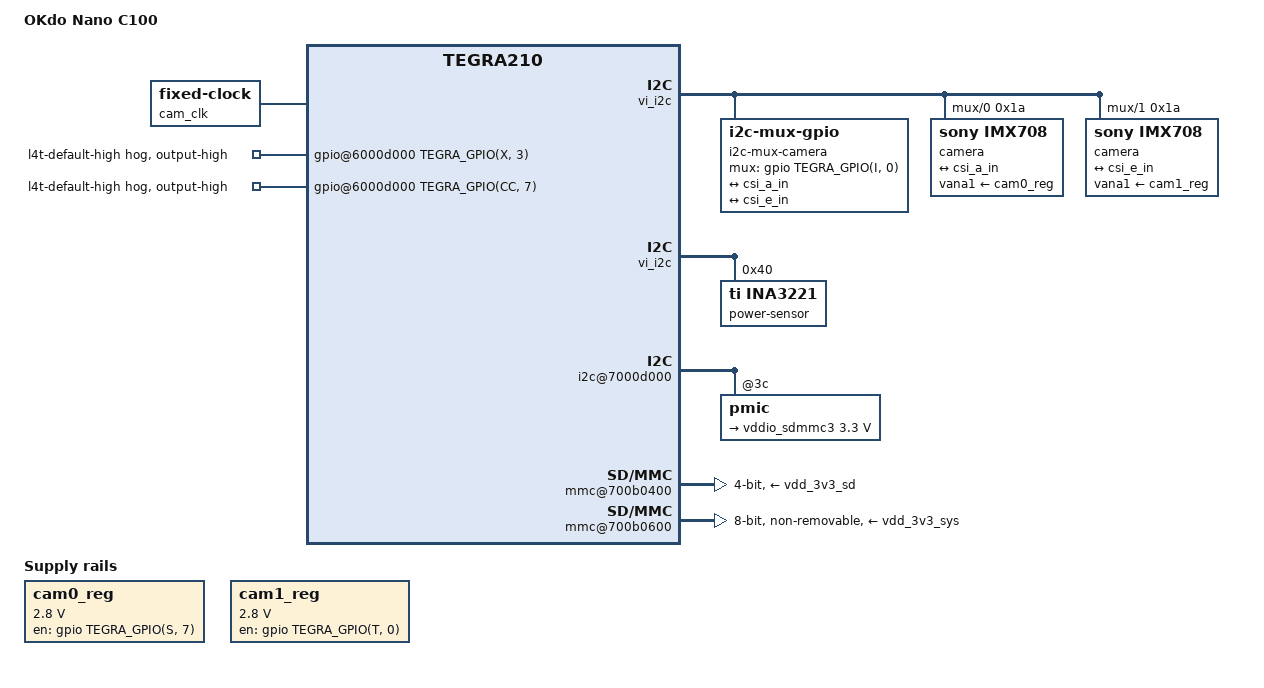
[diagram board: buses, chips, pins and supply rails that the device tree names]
// SPDX-License-Identifier: GPL-2.0
/*
 * OKdo Nano C100: Jetson Nano production module (P3448-0002, 16 GB eMMC) on
 * a carrier derived from the P3449 B01 developer kit carrier.
 *
 * Differences from the developer kit (tegra210-p3450-0000.dts):
 * - the module has eMMC on SDMMC4 and nothing on SDMMC1;
 * - the carrier's microSD slot is wired to SDMMC3 (the developer kit uses
 *   SDMMC3 for SDIO on the M.2 key E slot). The slot has no card-detect line
 *   and runs at 3.3 V signalling only, with its I/O rail on PMIC LDO6.
 */

/dts-v1/;

#include "nvidia/tegra210-p3450-0000.dts"

/ {
	model = "OKdo Nano C100";
	compatible = "okdo,c100", "nvidia,p3449-0000-b00+p3448-0002-b00",
		     "nvidia,p3450-0000", "nvidia,tegra210";

	/* eMMC first so that the Nerves root device is always mmcblk0 */
	aliases {
		mmc0 = "/mmc@700b0600";
		mmc1 = "/mmc@700b0400";
	};

	reserved-memory {
		#address-cells = <2>;
		#size-cells = <2>;
		ranges;

		/*
		 * cboot trains the DRAM at every boot and leaves the resulting
		 * timing tables (204 and 1600 MHz) at these fixed addresses.
		 */
		emc_table_nominal: emc-table@83400000 {
			compatible = "nvidia,tegra210-emc-table";
			reg = <0x0 0x83400000 0x0 0x10000>;
		};

		emc_table_derated: emc-table@83410000 {
			compatible = "nvidia,tegra210-emc-table";
			reg = <0x0 0x83410000 0x0 0x10000>;
		};
	};

	/*
	 * The two camera connectors (CAM0 on CSI port A, CAM1 on CSI port E,
	 * two lanes each) share the VI I2C bus through a GPIO-switched mux.
	 * They are described for Raspberry Pi Camera Module 3 (IMX708), which
	 * carries its own 24 MHz oscillator and regulators.
	 */
	cam_clk: clock-camera {
		compatible = "fixed-clock";
		#clock-cells = <0>;
		clock-frequency = <24000000>;
	};

	/*
	 * Each connector's enable line powers the camera module's regulators;
	 * the sensor needs them settled before it answers on I2C.
	 */
	cam0_reg: regulator-cam0 {
		compatible = "regulator-fixed";
		regulator-name = "cam0";
		regulator-min-microvolt = <2800000>;
		regulator-max-microvolt = <2800000>;
		gpio = <&gpio TEGRA_GPIO(S, 7) GPIO_ACTIVE_HIGH>;
		enable-active-high;
		startup-delay-us = <70000>;
		off-on-delay-us = <30000>;
	};

	cam1_reg: regulator-cam1 {
		compatible = "regulator-fixed";
		regulator-name = "cam1";
		regulator-min-microvolt = <2800000>;
		regulator-max-microvolt = <2800000>;
		gpio = <&gpio TEGRA_GPIO(T, 0) GPIO_ACTIVE_HIGH>;
		enable-active-high;
		startup-delay-us = <70000>;
		off-on-delay-us = <30000>;
	};

	i2c-mux-camera {
		compatible = "i2c-mux-gpio";
		#address-cells = <1>;
		#size-cells = <0>;
		i2c-parent = <&vi_i2c>;
		mux-gpios = <&gpio TEGRA_GPIO(I, 0) GPIO_ACTIVE_HIGH>;

		i2c@0 {
			reg = <0>;
			#address-cells = <1>;
			#size-cells = <0>;

			camera@1a {
				compatible = "sony,imx708";
				reg = <0x1a>;
				clocks = <&cam_clk>;
				clock-names = "inclk";
				vana1-supply = <&cam0_reg>;

				port {
					cam0_out: endpoint {
						remote-endpoint = <&csi_a_in>;
						data-lanes = <1 2>;
						clock-noncontinuous;
						link-frequencies = /bits/ 64 <450000000>;
					};
				};
			};
		};

		i2c@1 {
			reg = <1>;
			#address-cells = <1>;
			#size-cells = <0>;

			camera@1a {
				compatible = "sony,imx708";
				reg = <0x1a>;
				clocks = <&cam_clk>;
				clock-names = "inclk";
				vana1-supply = <&cam1_reg>;

				port {
					cam1_out: endpoint {
						remote-endpoint = <&csi_e_in>;
						data-lanes = <1 2>;
						clock-noncontinuous;
						link-frequencies = /bits/ 64 <450000000>;
					};
				};
			};
		};
	};

	host1x@50000000 {
		vi@54080000 {
			ports {
				#address-cells = <1>;
				#size-cells = <0>;

				port@0 {
					reg = <0>;

					vi_a_in: endpoint {
						remote-endpoint = <&csi_a_out>;
					};
				};

				port@4 {
					reg = <4>;

					vi_e_in: endpoint {
						remote-endpoint = <&csi_e_out>;
					};
				};
			};

			csi@838 {
				#address-cells = <1>;
				#size-cells = <0>;

				/*
				 * The test pattern generator's clock comes from PLL_D,
				 * which also clocks the display controller driving DP:
				 * setting its rate would change the display's pixel
				 * clock. Only the lane clocks are set.
				 */
				assigned-clocks = <&tegra_car TEGRA210_CLK_CILAB>,
						  <&tegra_car TEGRA210_CLK_CILCD>,
						  <&tegra_car TEGRA210_CLK_CILE>;
				assigned-clock-parents = <&tegra_car TEGRA210_CLK_PLL_P>,
							 <&tegra_car TEGRA210_CLK_PLL_P>,
							 <&tegra_car TEGRA210_CLK_PLL_P>;
				assigned-clock-rates = <102000000>,
						       <102000000>,
						       <102000000>;

				channel@0 {
					reg = <0>;
					nvidia,mipi-calibrate = <&mipi 0x01>; /* CSIA pad */
					#address-cells = <1>;
					#size-cells = <0>;

					port@0 {
						reg = <0>;

						csi_a_in: endpoint {
							data-lanes = <1 2>;
							remote-endpoint = <&cam0_out>;
						};
					};

					port@1 {
						reg = <1>;

						csi_a_out: endpoint {
							remote-endpoint = <&vi_a_in>;
						};
					};
				};

				channel@4 {
					reg = <4>;
					nvidia,mipi-calibrate = <&mipi 0x10>; /* CSIE pad */
					#address-cells = <1>;
					#size-cells = <0>;

					port@0 {
						reg = <0>;

						csi_e_in: endpoint {
							data-lanes = <1 2>;
							remote-endpoint = <&cam1_out>;
						};
					};

					port@1 {
						reg = <1>;

						csi_e_out: endpoint {
							remote-endpoint = <&vi_e_in>;
						};
					};
				};
			};
		};

		vi_i2c: i2c@546c0000 {
			power-sensor@40 {
				compatible = "ti,ina3221";
				reg = <0x40>;
				#address-cells = <1>;
				#size-cells = <0>;

				input@0 {
					reg = <0x0>;
					label = "POM_5V_IN";
					shunt-resistor-micro-ohms = <5000>;
				};

				input@1 {
					reg = <0x1>;
					label = "POM_5V_GPU";
					shunt-resistor-micro-ohms = <5000>;
				};

				input@2 {
					reg = <0x2>;
					label = "POM_5V_CPU";
					shunt-resistor-micro-ohms = <5000>;
				};
			};
		};
	};

	external-memory-controller@7001b000 {
		memory-region = <&emc_table_nominal>, <&emc_table_derated>;
		memory-region-names = "nominal", "derated";
	};

	/*
	 * The GPU stops at 921.6 MHz, the module's validated maximum. The
	 * mainline pstate table goes to 998.4 MHz, which needs about 1100 mV,
	 * above the 1068 mV nominal maximum.
	 *
	 * Nothing scales the EMC on demand, so the GPU, its main bandwidth user,
	 * requests the 1600 MHz rate cboot trains at every boot when it probes;
	 * at the 204 MHz boot rate memory bandwidth is about 4x lower.
	 */
	gpu@57000000 {
		operating-points-v2 = <&gpu_opp_table>;
		assigned-clocks = <&tegra_car TEGRA210_CLK_EMC>;
		assigned-clock-rates = <1600000000>;
	};

	gpu_opp_table: opp-table-gpu {
		compatible = "operating-points-v2";

		opp-76800000 {
			opp-hz = /bits/ 64 <76800000>;
		};

		opp-153600000 {
			opp-hz = /bits/ 64 <153600000>;
		};

		opp-230400000 {
			opp-hz = /bits/ 64 <230400000>;
		};

		opp-307200000 {
			opp-hz = /bits/ 64 <307200000>;
		};

		opp-384000000 {
			opp-hz = /bits/ 64 <384000000>;
		};

		opp-460800000 {
			opp-hz = /bits/ 64 <460800000>;
		};

		opp-537600000 {
			opp-hz = /bits/ 64 <537600000>;
		};

		opp-614400000 {
			opp-hz = /bits/ 64 <614400000>;
		};

		opp-691200000 {
			opp-hz = /bits/ 64 <691200000>;
		};

		opp-768000000 {
			opp-hz = /bits/ 64 <768000000>;
		};

		opp-844800000 {
			opp-hz = /bits/ 64 <844800000>;
		};

		opp-921600000 {
			opp-hz = /bits/ 64 <921600000>;
		};
	};

	/*
	 * The CPU stops at 1479 MHz, the module's validated maximum; the
	 * speedo table allows 1555.5 MHz.
	 */
	clock@70110000 {
		nvidia,dfll-max-freq-khz = <1479000>;
	};

	thermal-sensor@700e2000 {
		/* Over-current inputs as L4T configures them; both are active low */
		throttle-cfgs {
			oc1 {
				nvidia,priority = <50>;
				nvidia,cpu-throt-percent = <75>;
				nvidia,gpu-throt-level = <TEGRA_SOCTHERM_THROT_LEVEL_HIGH>;
				nvidia,count-threshold = <1>;
				nvidia,alarm-filter = <5100000>;
				nvidia,polarity-active-low;
			};

			oc3 {
				nvidia,priority = <40>;
				nvidia,cpu-throt-percent = <75>;
				nvidia,gpu-throt-level = <TEGRA_SOCTHERM_THROT_LEVEL_MED>;
				nvidia,count-threshold = <15>;
				nvidia,alarm-filter = <5100000>;
				nvidia,polarity-active-low;
			};
		};
	};

	/* L4T drives these high on this board; mainline does not use them */
	gpio@6000d000 {
		l4t-default-high-px3-hog {
			gpio-hog;
			gpios = <TEGRA_GPIO(X, 3) GPIO_ACTIVE_HIGH>;
			output-high;
			line-name = "l4t-default-high";
		};

		l4t-default-high-pcc7-hog {
			gpio-hog;
			gpios = <TEGRA_GPIO(CC, 7) GPIO_ACTIVE_HIGH>;
			output-high;
			line-name = "l4t-default-high";
		};
	};

	i2c@7000d000 {
		pmic@3c {
			/*
			 * L4T configures PMIC GPIO1 as an open-drain output and
			 * keeps it high instead of using it as an FPS output.
			 */
			pinmux {
				gpio1 {
					function = "gpio";
					/delete-property/ drive-push-pull;
					drive-open-drain = <1>;
				};
			};

			l4t-default-high-gpio1-hog {
				gpio-hog;
				gpios = <1 GPIO_ACTIVE_HIGH>;
				output-high;
				line-name = "l4t-default-high";
			};

			regulators {
				vddio_sdmmc3: ldo6 {
					regulator-name = "VDDIO_SDMMC3";
					regulator-min-microvolt = <3300000>;
					regulator-max-microvolt = <3300000>;
					regulator-enable-ramp-delay = <24>;
					regulator-ramp-delay = <100000>;
					regulator-always-on;
					regulator-boot-on;
					status = "okay";
				};
			};
		};
	};

	mmc@700b0000 {
		status = "disabled";
	};

	/* microSD */
	mmc@700b0400 {
		/delete-property/ non-removable;
		/delete-property/ cap-sdio-irq;
		/delete-property/ keep-power-in-suspend;
		/delete-property/ wakeup-source;

		status = "okay";
		bus-width = <4>;
		broken-cd;
		disable-wp;
		/*
		 * UHS needs a 1.8 V switch that the boot ROM and U-Boot cannot
		 * undo after a warm reset, which leaves the card unreadable.
		 */
		no-1-8-v;

		vqmmc-supply = <&vddio_sdmmc3>;
		vmmc-supply = <&vdd_3v3_sd>;
	};

	/* L4T keeps the USB hub powered */
	regulator-vdd-hub-3v3 {
		regulator-always-on;
		regulator-boot-on;
	};

	/* The P3448-0002 module has no QSPI flash */
	spi@70410000 {
		status = "disabled";
	};

	/* eMMC */
	mmc@700b0600 {
		status = "okay";
		bus-width = <8>;
		non-removable;
		vqmmc-supply = <&vdd_1v8>;
		vmmc-supply = <&vdd_3v3_sys>;
	};
};
